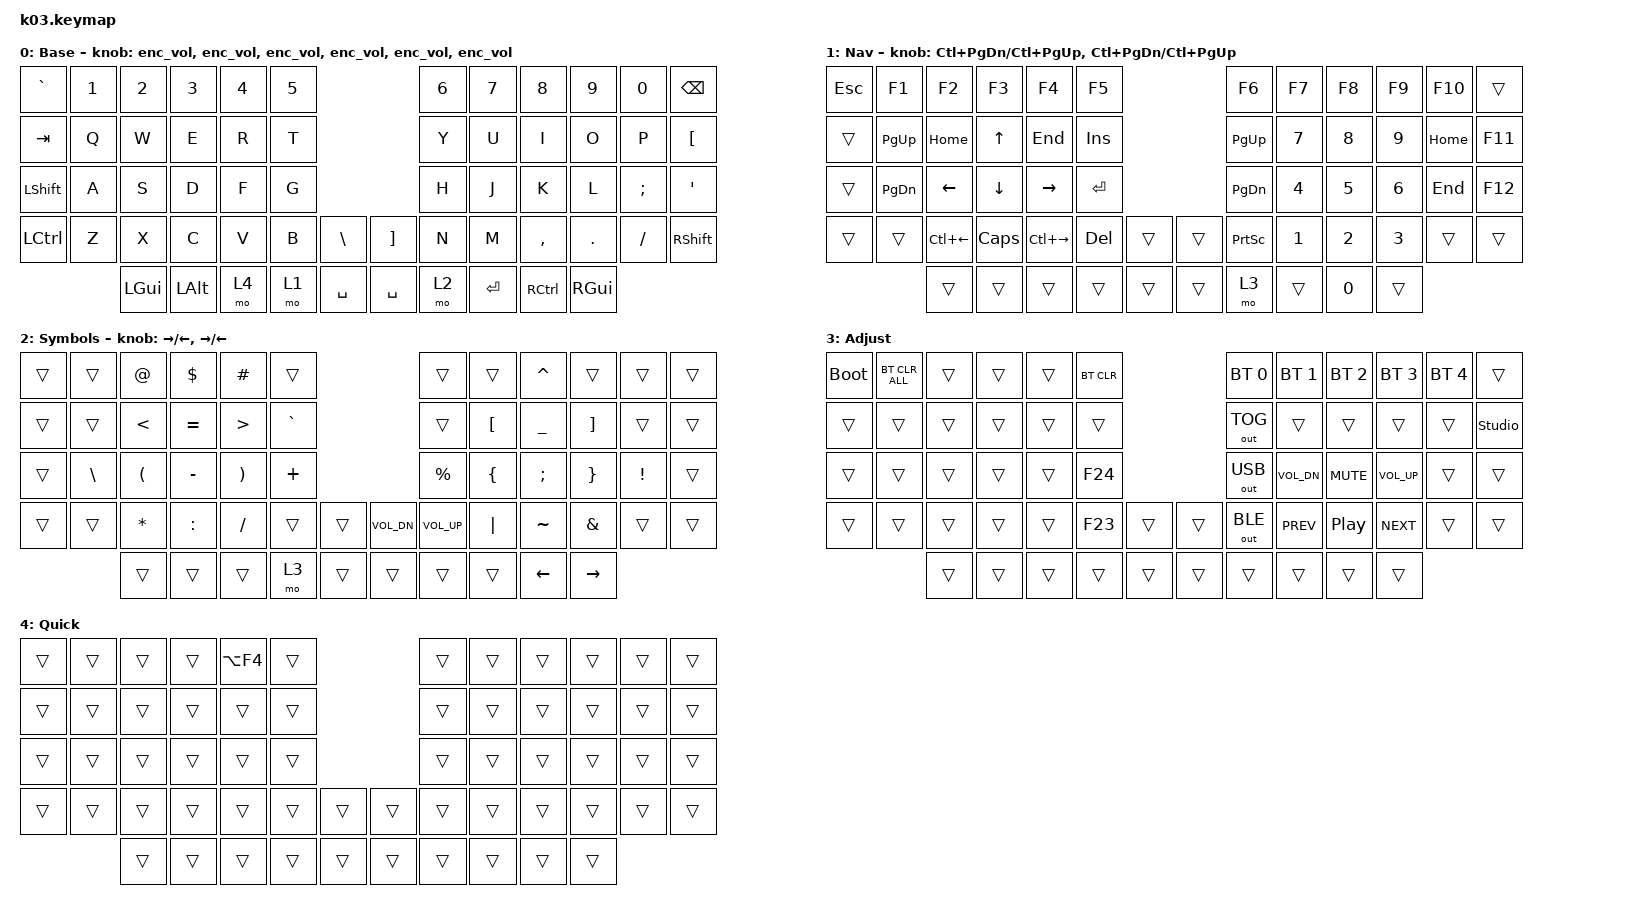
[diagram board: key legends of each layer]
#include "keys_ru.h"
#include <behaviors.dtsi>
#include <dt-bindings/zmk/bt.h>
#include <dt-bindings/zmk/keys.h>
#include <dt-bindings/zmk/outputs.h>

/ {
    behaviors {
        enc_vol: enc_vol {
            compatible = "zmk,behavior-sensor-rotate";
            label = "ENC_VOL";
            #sensor-binding-cells = <0>;
            bindings = <&kp C_VOL_UP>, <&kp C_VOL_DN>;
        };
    };

    keymap {
        compatible = "zmk,keymap";

        base {
            bindings = <
&kp GRAVE         &kp N1  &kp N2    &kp N3    &kp N4  &kp N5                              &kp N6  &kp N7     &kp N8             &kp N9    &kp N0    &kp BSPC
&kp TAB           &kp Q   &kp W     &kp E     &kp R   &kp T                               &kp Y   &kp U      &kp I              &kp O     &kp P     &kp LEFT_BRACKET
&kp LEFT_SHIFT    &kp A   &kp S     &kp D     &kp F   &kp G                               &kp H   &kp J      &kp K              &kp L     &kp SEMI  &kp SQT
&kp LEFT_CONTROL  &kp Z   &kp X     &kp C     &kp V   &kp B   &kp BACKSLASH    &kp RBKT   &kp N   &kp M      &kp COMMA          &kp DOT   &kp FSLH  &kp RIGHT_SHIFT
                          &kp LGUI  &kp LALT  &mo 4   &mo 1   &kp SPACE        &kp SPACE  &mo 2   &kp ENTER  &kp RIGHT_CONTROL  &kp RGUI
            >;

            display-name = "Base";
            sensor-bindings =
                <&enc_vol>,
                <&enc_vol>,
                <&enc_vol>,
                <&enc_vol>,
                <&enc_vol>,
                <&enc_vol>;
        };

        nav {
            bindings = <
&kp ESC  &kp F1         &kp F2        &kp F3    &kp F4         &kp F5                     &kp F6           &kp F7  &kp F8  &kp F9  &kp F10   &trans
&trans   &kp PAGE_UP    &kp HOME      &kp UP    &kp END        &kp INS                    &kp PG_UP        &kp N7  &kp N8  &kp N9  &kp HOME  &kp F11
&trans   &kp PAGE_DOWN  &kp LEFT      &kp DOWN  &kp RIGHT      &kp RET                    &kp PG_DN        &kp N4  &kp N5  &kp N6  &kp END   &kp F12
&trans   &trans         &kp LC(LEFT)  &kp CAPS  &kp LC(RIGHT)  &kp DEL  &trans    &trans  &kp PRINTSCREEN  &kp N1  &kp N2  &kp N3  &trans    &trans
                        &trans        &trans    &trans         &trans   &trans    &trans  &mo 3            &trans  &kp N0  &trans
            >;

            display-name = "Nav";
            sensor-bindings =
                <&inc_dec_kp LC(PAGE_DOWN) LC(PAGE_UP)>,
                <&inc_dec_kp LC(PAGE_DOWN) LC(PAGE_UP)>;
        };

        sym {
            bindings = <
&trans  &trans    &kp AT    &kp DLLR   &kp HASH  &trans                             &trans        &trans    &kp CARET       &trans           &trans    &trans
&trans  &trans    &kp LT    &kp EQUAL  &kp GT    &kp GRAVE                          &trans        &kp LBKT  &kp UNDER       &kp RBKT         &trans    &trans
&trans  &kp BSLH  &kp LPAR  &kp MINUS  &kp RPAR  &kp PLUS                           &kp PRCNT     &kp LBRC  &kp SEMI        &kp RBRC         &kp EXCL  &trans
&trans  &trans    &kp STAR  &kp COLON  &kp FSLH  &trans     &trans    &kp C_VOL_DN  &kp C_VOL_UP  &kp PIPE  &kp TILDE       &kp AMPS         &trans    &trans
                  &trans    &trans     &trans    &mo 3      &trans    &trans        &trans        &trans    &kp LEFT_ARROW  &kp RIGHT_ARROW
            >;

            display-name = "Symbols";
            sensor-bindings =
                <&inc_dec_kp RIGHT LEFT>,
                <&inc_dec_kp RIGHT LEFT>;
        };

        adj {
            bindings = <
&bootloader  &bt BT_CLR_ALL  &trans  &trans  &trans  &bt BT_CLR                    &bt BT_SEL 0  &bt BT_SEL 1  &bt BT_SEL 2      &bt BT_SEL 3  &bt BT_SEL 4  &trans
&trans       &trans          &trans  &trans  &trans  &trans                        &out OUT_TOG  &trans        &trans            &trans        &trans        &studio_unlock
&trans       &trans          &trans  &trans  &trans  &kp F24                       &out OUT_USB  &kp C_VOL_DN  &kp C_MUTE        &kp C_VOL_UP  &trans        &trans
&trans       &trans          &trans  &trans  &trans  &kp F23     &trans    &trans  &out OUT_BLE  &kp C_PREV    &kp C_PLAY_PAUSE  &kp C_NEXT    &trans        &trans
                             &trans  &trans  &trans  &trans      &trans    &trans  &trans        &trans        &trans            &trans
            >;

            display-name = "Adjust";
        };

        Quick {
            bindings = <
&trans  &trans  &trans  &trans  &kp LA(F4)  &trans                    &trans  &trans  &trans  &trans  &trans  &trans
&trans  &trans  &trans  &trans  &trans      &trans                    &trans  &trans  &trans  &trans  &trans  &trans
&trans  &trans  &trans  &trans  &trans      &trans                    &trans  &trans  &trans  &trans  &trans  &trans
&trans  &trans  &trans  &trans  &trans      &trans  &trans    &trans  &trans  &trans  &trans  &trans  &trans  &trans
                &trans  &trans  &trans      &trans  &trans    &trans  &trans  &trans  &trans  &trans
            >;
        };
    };
};
